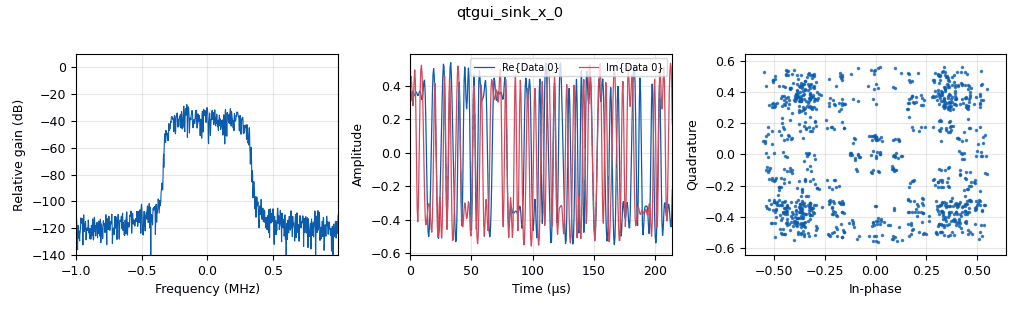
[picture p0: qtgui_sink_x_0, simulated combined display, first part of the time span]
<?xml version='1.0' encoding='utf-8'?>
<?grc format='1' created='3.7.6'?>
<flow_graph>
<block>
<key>options</key>
<param><key>id</key><value>QPSK_Tx</value></param>
<param><key>title</key><value>QPSK Tx</value></param>
<param><key>author</key><value>MR</value></param>
<param><key>description</key><value>QPSK Transmitter</value></param>
<param><key>generate_options</key><value>qt_gui</value></param>
<param><key>category</key><value>Custom</value></param>
</block>
<block>
<key>variable</key>
<param><key>id</key><value>arity</value></param>
<param><key>value</key><value>4</value></param>
</block>
<block>
<key>variable</key>
<param><key>id</key><value>sps</value></param>
<param><key>value</key><value>int(samp_rate/sym_rate)</value></param>
</block>
<block>
<key>variable</key>
<param><key>id</key><value>sym_rate</value></param>
<param><key>value</key><value>500000</value></param>
</block>
<block>
<key>variable</key>
<param><key>id</key><value>samp_rate</value></param>
<param><key>value</key><value>2000000</value></param>
</block>
<block>
<key>variable_qtgui_range</key>
<param><key>id</key><value>car_freq</value></param>
<param><key>label</key><value>Carrier Frequency</value></param>
<param><key>value</key><value>1000000</value></param>
<param><key>start</key><value>0</value></param>
<param><key>stop</key><value>5000000</value></param>
<param><key>step</key><value>100000</value></param>
<param><key>widget</key><value>counter</value></param>
<param><key>orient</key><value>Qt.Horizontal</value></param>
</block>
<block>
<key>variable_qtgui_range</key>
<param><key>id</key><value>sig_amp</value></param>
<param><key>label</key><value>Signal Amplitude</value></param>
<param><key>value</key><value>0.5</value></param>
<param><key>start</key><value>0</value></param>
<param><key>stop</key><value>1</value></param>
<param><key>step</key><value>0.05</value></param>
<param><key>widget</key><value>counter</value></param>
<param><key>orient</key><value>Qt.Horizontal</value></param>
</block>
<block>
<key>variable_constellation_rect</key>
<param><key>id</key><value>qpsk</value></param>
<param><key>sym_map</key><value>[0, 1, 2, 3]</value></param>
<param><key>const_points</key><value>[-1-1j, -1+1j, 1+1j, 1-1j]</value></param>
<param><key>rot_sym</key><value>4</value></param>
<param><key>real_sect</key><value>2</value></param>
<param><key>imag_sect</key><value>2</value></param>
<param><key>w_real_sect</key><value>1</value></param>
<param><key>w_imag_sect</key><value>1</value></param>
<param><key>softbits_lut</key><value>None</value></param>
</block>
<block>
<key>blocks_multiply_const_vxx</key>
<param><key>id</key><value>blocks_multiply_const_vxx_0</value></param>
<param><key>type</key><value>complex</value></param>
<param><key>const</key><value>sig_amp</value></param>
</block>
<block>
<key>uhd_usrp_sink</key>
<param><key>id</key><value>uhd_usrp_sink_0</value></param>
<param><key>type</key><value>fc32</value></param>
<param><key>dev_args</key><value>""</value></param>
<param><key>sync</key><value></value></param>
<param><key>clock_rate</key><value>0.0</value></param>
<param><key>samp_rate</key><value>samp_rate</value></param>
<param><key>center_freq0</key><value>car_freq</value></param>
<param><key>gain0</key><value>0</value></param>
<param><key>ant0</key><value></value></param>
<param><key>len_tag_name</key><value></value></param>
</block>
<block>
<key>qtgui_sink_x</key>
<param><key>id</key><value>qtgui_sink_x_0</value></param>
<param><key>type</key><value>complex</value></param>
<param><key>fftsize</key><value>1024</value></param>
<param><key>wintype</key><value>firdes.WIN_BLACKMAN_hARRIS</value></param>
<param><key>fc</key><value>0</value></param>
<param><key>bw</key><value>samp_rate</value></param>
<param><key>freqchangevar</key><value>None</value></param>
<param><key>showports</key><value>True</value></param>
</block>
<block>
<key>root_raised_cosine_filter</key>
<param><key>id</key><value>root_raised_cosine_filter_0</value></param>
<param><key>_enabled</key><value>False</value></param>
<param><key>type</key><value>fir_filter_ccf</value></param>
<param><key>decim</key><value>1</value></param>
<param><key>gain</key><value>1</value></param>
<param><key>samp_rate</key><value>samp_rate</value></param>
<param><key>sym_rate</key><value>sym_rate</value></param>
<param><key>alpha</key><value>0.35</value></param>
<param><key>ntaps</key><value>11</value></param>
</block>
<block>
<key>blocks_repeat</key>
<param><key>id</key><value>blocks_repeat_0</value></param>
<param><key>_enabled</key><value>False</value></param>
<param><key>type</key><value>complex</value></param>
<param><key>interp</key><value>sps</value></param>
</block>
<block>
<key>digital_chunks_to_symbols_xx</key>
<param><key>id</key><value>digital_chunks_to_symbols_xx_0</value></param>
<param><key>_enabled</key><value>False</value></param>
<param><key>in_type</key><value>byte</value></param>
<param><key>out_type</key><value>complex</value></param>
<param><key>symbol_table</key><value>[-1-1j, -1+1j, 1+1j, 1-1j]</value></param>
<param><key>dimension</key><value>1</value></param>
</block>
<block>
<key>analog_random_source_x</key>
<param><key>id</key><value>analog_random_source_x_0</value></param>
<param><key>_enabled</key><value>False</value></param>
<param><key>type</key><value>byte</value></param>
<param><key>min</key><value>0</value></param>
<param><key>max</key><value>4</value></param>
<param><key>num_samps</key><value>10000</value></param>
<param><key>repeat</key><value>True</value></param>
</block>
<block>
<key>analog_random_source_x</key>
<param><key>id</key><value>analog_random_source_x_0_0</value></param>
<param><key>type</key><value>byte</value></param>
<param><key>min</key><value>0</value></param>
<param><key>max</key><value>256</value></param>
<param><key>num_samps</key><value>10000</value></param>
<param><key>repeat</key><value>True</value></param>
</block>
<block>
<key>digital_constellation_modulator</key>
<param><key>id</key><value>digital_constellation_modulator_0</value></param>
<param><key>constellation</key><value>qpsk</value></param>
<param><key>differential</key><value>True</value></param>
<param><key>samples_per_symbol</key><value>sps</value></param>
<param><key>excess_bw</key><value>0.35</value></param>
</block>
<block>
<key>digital_psk_mod</key>
<param><key>id</key><value>digital_psk_mod_0</value></param>
<param><key>_enabled</key><value>False</value></param>
<param><key>constellation_points</key><value>arity</value></param>
<param><key>mod_code</key><value>"gray"</value></param>
<param><key>differential</key><value>True</value></param>
<param><key>samples_per_symbol</key><value>sps</value></param>
<param><key>excess_bw</key><value>0.35</value></param>
</block>
<connection><source_block_id>digital_constellation_modulator_0</source_block_id><sink_block_id>blocks_multiply_const_vxx_0</sink_block_id><source_key>0</source_key><sink_key>0</sink_key></connection>
<connection><source_block_id>analog_random_source_x_0_0</source_block_id><sink_block_id>digital_psk_mod_0</sink_block_id><source_key>0</source_key><sink_key>0</sink_key></connection>
<connection><source_block_id>analog_random_source_x_0_0</source_block_id><sink_block_id>digital_constellation_modulator_0</sink_block_id><source_key>0</source_key><sink_key>0</sink_key></connection>
<connection><source_block_id>digital_psk_mod_0</source_block_id><sink_block_id>blocks_multiply_const_vxx_0</sink_block_id><source_key>0</source_key><sink_key>0</sink_key></connection>
<connection><source_block_id>blocks_multiply_const_vxx_0</source_block_id><sink_block_id>uhd_usrp_sink_0</sink_block_id><source_key>0</source_key><sink_key>0</sink_key></connection>
<connection><source_block_id>blocks_multiply_const_vxx_0</source_block_id><sink_block_id>qtgui_sink_x_0</sink_block_id><source_key>0</source_key><sink_key>0</sink_key></connection>
<connection><source_block_id>digital_chunks_to_symbols_xx_0</source_block_id><sink_block_id>blocks_repeat_0</sink_block_id><source_key>0</source_key><sink_key>0</sink_key></connection>
<connection><source_block_id>blocks_repeat_0</source_block_id><sink_block_id>root_raised_cosine_filter_0</sink_block_id><source_key>0</source_key><sink_key>0</sink_key></connection>
<connection><source_block_id>analog_random_source_x_0</source_block_id><sink_block_id>digital_chunks_to_symbols_xx_0</sink_block_id><source_key>0</source_key><sink_key>0</sink_key></connection>
<connection><source_block_id>root_raised_cosine_filter_0</source_block_id><sink_block_id>blocks_multiply_const_vxx_0</sink_block_id><source_key>0</source_key><sink_key>0</sink_key></connection>
</flow_graph>
